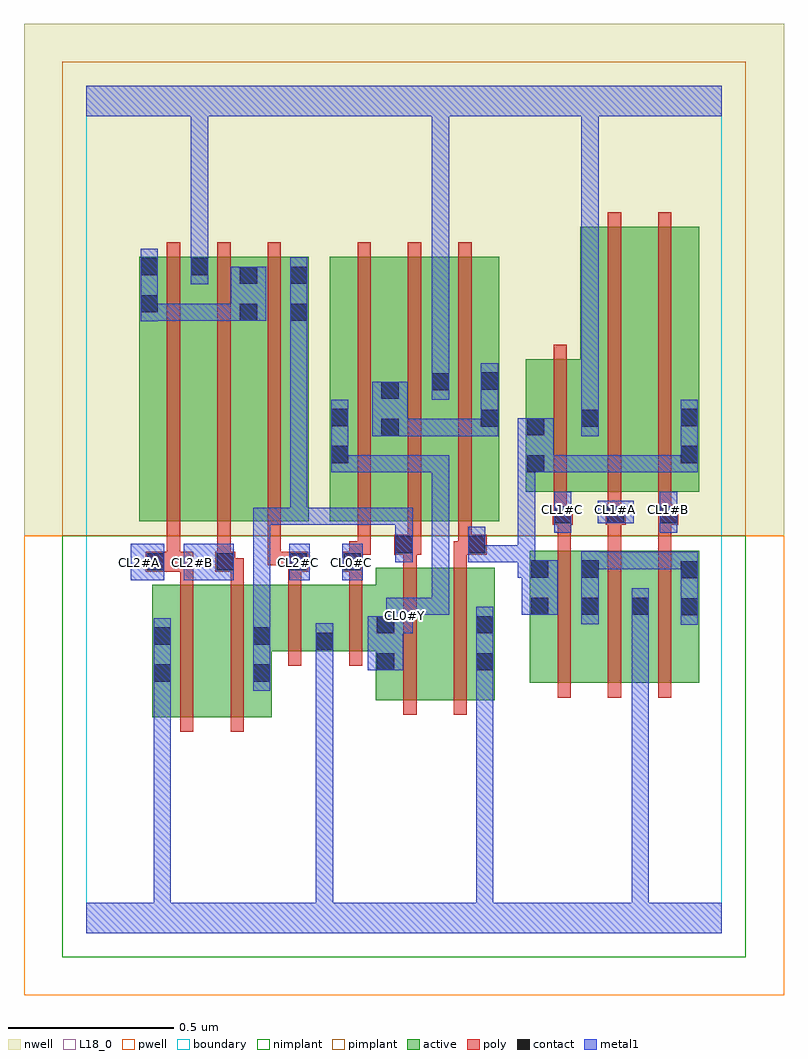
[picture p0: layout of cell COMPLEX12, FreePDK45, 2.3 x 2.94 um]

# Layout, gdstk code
import gdstk
lib = gdstk.Library(unit=1e-6, precision=1e-09)
def R(c, l, rs):  # rectangles x0, y0, x1, y1
    for r in rs: c.add(gdstk.rectangle(r[:2], r[2:], *l))
def A(c, l, x, y, w, h, nx, ny, dx, dy):  # array of equal rectangles
    R(c, l, [(x+i*dx, y+j*dy, x+i*dx+w, y+j*dy+h) for i in range(nx) for j in range(ny)])
active = (1, 0)
pwell = (2, 0)
nwell = (3, 0)
nimplant = (4, 0)
pimplant = (5, 0)
poly = (9, 0)
contact = (10, 0)
metal1 = (11, 0)
L18_0 = (18, 0)
boundary = (235, 0)

complex12 = lib.new_cell('COMPLEX12')
A(complex12, active, 1.34, 0.756, 0.06, 0.4, 3, 1, 0.152, 0)
R(complex12, active, [(0.2,0.652,0.38,1.052), (0.38,0.652,0.56,1.052), (0.874,0.704,1.054,1.104), (1.054,0.704,1.234,1.104), (0.2,0.756,0.26,1.052), (0.5,0.756,0.56,1.028), (1.174,0.756,1.234,1.104), (1.34,0.756,1.552,1.156), (1.492,0.756,1.704,1.156), (1.644,0.756,1.852,1.156), (1.792,0.756,1.852,1.156), (0.874,0.79,0.934,1.018), (0.5,0.852,0.75,1.052), (0.69,0.852,0.934,1.052), (0.69,0.852,0.75,1.052), (0.16,1.244,0.22,2.044), (0.16,1.244,0.372,2.044), (0.312,1.244,0.52,2.044), (0.46,1.244,0.672,2.044), (0.612,1.244,0.672,2.044), (0.736,1.244,0.796,2.044), (0.736,1.244,0.948,2.044), (0.888,1.244,1.1,2.044), (1.04,1.244,1.248,2.044), (1.188,1.244,1.248,2.044), (1.328,1.334,1.388,1.734), (1.328,1.334,1.552,1.734), (1.492,1.334,1.672,2.134), (1.672,1.334,1.852,2.134), (1.792,1.334,1.852,2.044), (0.888,1.448,0.948,2.044), (1.492,1.526,1.552,1.644), (1.04,1.586,1.1,2.044), (0.312,1.686,0.372,2.044), (0.46,1.686,0.52,2.044)])
R(complex12, pwell, [(-0.188,-0.188,2.108,1.2)])
R(complex12, nwell, [(-0.188,1.2,2.108,2.748)])
R(complex12, nimplant, [(-0.072,-0.072,1.992,1.2)])
R(complex12, pimplant, [(-0.072,1.2,1.992,2.632)])
A(complex12, poly, 1.424, 0.712, 0.04, 0.488, 3, 1, 0.152, 0)
A(complex12, poly, 0.244, 1.112, 0.04, 0.128, 3, 1, 0.152, 0)
A(complex12, poly, 1.424, 1.16, 0.04, 0.114, 3, 1, 0.152, 0)
A(complex12, poly, 0.244, 1.2, 0.04, 0.888, 3, 1, 0.152, 0)
A(complex12, poly, 0.82, 1.2, 0.04, 0.888, 3, 1, 0.152, 0)
R(complex12, poly, [(0.284,0.608,0.324,1.096), (0.436,0.608,0.476,1.096), (0.958,0.66,0.998,1.148), (1.11,0.66,1.15,1.148), (0.61,0.808,0.65,1.096), (0.794,0.808,0.834,1.096), (0.284,1.056,0.324,1.132), (0.436,1.056,0.476,1.132), (0.61,1.056,0.65,1.132), (0.794,1.056,0.834,1.132), (0.18,1.092,0.324,1.152), (0.39,1.092,0.45,1.152), (0.41,1.092,0.45,1.132), (0.41,1.092,0.476,1.132), (0.61,1.092,0.67,1.152), (0.774,1.092,0.834,1.152), (0.958,1.108,0.998,1.184), (1.11,1.108,1.15,1.184), (0.244,1.112,0.284,1.152), (0.244,1.112,0.284,1.152), (0.548,1.112,0.65,1.152), (0.61,1.112,0.65,1.152), (0.794,1.112,0.834,1.184), (0.794,1.144,0.86,1.184), (0.82,1.144,0.86,1.24), (0.93,1.144,1.012,1.204), (0.958,1.144,0.998,1.184), (0.958,1.144,0.998,1.184), (1.11,1.144,1.164,1.184), (1.124,1.144,1.164,1.184), (1.124,1.144,1.21,1.204), (0.972,1.164,1.012,1.24), (1.124,1.164,1.164,1.24), (1.41,1.234,1.47,1.294), (1.424,1.234,1.464,1.274), (1.424,1.234,1.464,1.274), (1.57,1.234,1.63,1.294), (1.576,1.234,1.616,1.274), (1.576,1.234,1.616,1.274), (1.728,1.234,1.768,1.274), (1.728,1.234,1.768,1.274), (1.728,1.234,1.788,1.294), (1.412,1.254,1.452,1.33), (1.576,1.254,1.616,1.33), (1.728,1.254,1.768,1.33), (1.412,1.29,1.452,1.778), (1.576,1.29,1.616,2.178), (1.728,1.29,1.768,2.178)])
A(complex12, contact, 1.344, 0.962, 0.052, 0.052, 3, 1, 0.152, 0)
R(complex12, contact, [(0.204,0.76,0.256,0.812), (0.504,0.76,0.556,0.812), (0.878,0.794,0.93,0.846), (1.178,0.794,1.23,0.846), (0.694,0.856,0.746,0.908), (0.204,0.872,0.256,0.924), (0.504,0.872,0.556,0.924), (0.878,0.906,0.93,0.958), (1.178,0.906,1.23,0.958), (1.796,0.96,1.848,1.012), (1.796,1.072,1.848,1.124), (1.344,1.074,1.396,1.126), (1.496,1.074,1.548,1.126), (0.184,1.096,0.236,1.148), (0.394,1.096,0.446,1.148), (0.614,1.096,0.666,1.148), (0.778,1.096,0.83,1.148), (0.934,1.148,0.986,1.2), (1.154,1.148,1.206,1.2), (1.414,1.238,1.466,1.29), (1.574,1.238,1.626,1.29), (1.732,1.238,1.784,1.29), (1.332,1.392,1.384,1.444), (0.74,1.42,0.792,1.472), (1.796,1.42,1.848,1.472), (0.892,1.502,0.944,1.554), (1.332,1.504,1.384,1.556), (1.192,1.53,1.244,1.582), (1.496,1.53,1.548,1.582), (0.74,1.532,0.792,1.584), (1.796,1.532,1.848,1.584), (0.892,1.614,0.944,1.666), (1.044,1.64,1.096,1.692), (1.192,1.642,1.244,1.694), (0.464,1.85,0.516,1.902), (0.616,1.85,0.668,1.902), (0.164,1.876,0.216,1.928), (0.464,1.962,0.516,2.014), (0.616,1.962,0.668,2.014), (0.164,1.988,0.216,2.04), (0.316,1.988,0.368,2.04)])
R(complex12, metal1, [(0,0,1.92,0.092), (0.204,0.04,0.256,0.092), (0.204,0.04,0.256,0.092), (0.204,0.04,0.256,0.092), (0.204,0.04,0.256,0.092), (0.204,0.04,0.256,0.092), (0.204,0.04,0.256,0.092), (0.204,0.04,0.256,0.784), (0.694,0.04,0.746,0.092), (0.694,0.04,0.746,0.092), (0.694,0.04,0.746,0.092), (0.694,0.04,0.746,0.092), (0.694,0.04,0.746,0.092), (0.694,0.04,0.746,0.092), (0.694,0.04,0.746,0.092), (0.694,0.04,0.746,0.092), (0.694,0.04,0.746,0.092), (0.694,0.04,0.746,0.092), (0.694,0.04,0.746,0.092), (0.694,0.04,0.746,0.092), (0.694,0.04,0.746,0.092), (0.694,0.04,0.746,0.092), (0.694,0.04,0.746,0.092), (0.694,0.04,0.746,0.092), (0.694,0.04,0.746,0.88), (1.178,0.04,1.23,0.092), (1.178,0.04,1.23,0.092), (1.178,0.04,1.23,0.092), (1.178,0.04,1.23,0.092), (1.178,0.04,1.23,0.092), (1.178,0.04,1.23,0.092), (1.178,0.04,1.23,0.092), (1.178,0.04,1.23,0.092), (1.178,0.04,1.23,0.092), (1.178,0.04,1.23,0.092), (1.178,0.04,1.23,0.092), (1.178,0.04,1.23,0.092), (1.178,0.04,1.23,0.818), (1.648,0.04,1.7,0.092), (1.648,0.04,1.7,0.092), (1.648,0.04,1.7,0.092), (1.648,0.04,1.7,0.092), (1.648,0.04,1.7,0.092), (1.648,0.04,1.7,0.092), (1.648,0.04,1.7,0.092), (1.648,0.04,1.7,0.092), (1.648,0.04,1.7,0.986), (0.204,0.732,0.256,0.784), (0.204,0.732,0.256,0.784), (0.204,0.732,0.256,0.784), (0.204,0.732,0.256,0.784), (0.204,0.732,0.256,0.784), (0.204,0.732,0.256,0.784), (0.204,0.732,0.256,0.952), (0.504,0.732,0.556,0.952), (1.178,0.766,1.23,0.986), (0.85,0.794,0.958,0.958), (0.694,0.828,0.746,0.936), (0.504,0.9,0.556,1.286), (0.906,0.906,0.958,0.958), (0.906,0.906,0.986,1.014), (1.796,0.932,1.848,1.152), (1.496,0.934,1.548,1.154), (1.648,0.934,1.7,0.986), (1.648,0.934,1.7,0.986), (1.648,0.934,1.7,0.986), (1.648,0.934,1.7,0.986), (1.648,0.934,1.7,1.042), (0.934,0.962,1.096,1.014), (1.044,0.962,1.096,1.014), (1.044,0.962,1.096,1.014), (1.044,0.962,1.096,1.014), (1.044,0.962,1.096,1.444), (1.316,0.962,1.424,1.126), (0.134,1.066,0.236,1.176), (0.294,1.066,0.446,1.176), (0.614,1.066,0.676,1.176), (0.774,1.066,0.836,1.176), (1.304,1.074,1.356,1.172), (1.304,1.074,1.368,1.126), (1.316,1.074,1.368,1.126), (1.496,1.1,1.548,1.152), (1.496,1.1,1.548,1.152), (1.496,1.1,1.738,1.152), (1.686,1.1,1.738,1.152), (1.686,1.1,1.848,1.152), (1.796,1.1,1.848,1.152), (1.796,1.1,1.848,1.152), (0.934,1.12,0.986,1.228), (1.154,1.12,1.206,1.172), (1.154,1.12,1.206,1.172), (1.154,1.12,1.206,1.228), (1.154,1.12,1.356,1.172), (1.304,1.12,1.356,1.172), (1.304,1.12,1.356,1.444), (0.934,1.176,0.986,1.228), (0.934,1.176,0.986,1.286), (1.414,1.21,1.466,1.334), (1.732,1.21,1.786,1.334), (0.504,1.234,0.556,1.286), (0.504,1.234,0.556,1.286), (0.504,1.234,0.556,1.286), (0.504,1.234,0.556,1.286), (0.504,1.234,0.556,1.286), (0.504,1.234,0.668,1.286), (0.616,1.234,0.668,1.286), (0.616,1.234,0.778,1.286), (0.616,1.234,0.668,1.874), (0.726,1.234,0.778,1.286), (0.726,1.234,0.778,1.286), (0.726,1.234,0.778,1.286), (0.726,1.234,0.986,1.286), (1.546,1.238,1.654,1.306), (0.74,1.392,0.792,1.444), (0.74,1.392,0.792,1.444), (0.74,1.392,0.792,1.612), (0.74,1.392,0.986,1.444), (0.934,1.392,0.986,1.444), (0.934,1.392,0.986,1.444), (0.934,1.392,0.986,1.444), (0.934,1.392,1.096,1.444), (1.044,1.392,1.096,1.444), (1.044,1.392,1.096,1.444), (1.044,1.392,1.096,1.444), (1.304,1.392,1.412,1.556), (1.36,1.392,1.412,1.444), (1.36,1.392,1.412,1.444), (1.36,1.392,1.59,1.444), (1.538,1.392,1.59,1.444), (1.538,1.392,1.59,1.444), (1.538,1.392,1.59,1.444), (1.538,1.392,1.738,1.444), (1.686,1.392,1.738,1.444), (1.686,1.392,1.848,1.444), (1.796,1.392,1.848,1.444), (1.796,1.392,1.848,1.444), (1.796,1.392,1.848,1.612), (0.864,1.502,0.972,1.666), (0.92,1.502,1.096,1.554), (1.044,1.502,1.096,1.554), (1.044,1.502,1.096,1.554), (1.044,1.502,1.096,1.554), (1.044,1.502,1.244,1.554), (1.192,1.502,1.244,1.554), (1.192,1.502,1.244,1.554), (1.192,1.502,1.244,1.722), (1.496,1.502,1.548,1.61), (1.496,1.558,1.548,2.52), (1.044,1.612,1.096,1.72), (1.044,1.668,1.096,1.72), (1.044,1.668,1.096,1.72), (1.044,1.668,1.096,2.52), (0.616,1.822,0.668,2.042), (0.164,1.848,0.216,2.068), (0.164,1.85,0.216,1.902), (0.164,1.85,0.216,1.902), (0.164,1.85,0.378,1.902), (0.326,1.85,0.378,1.902), (0.326,1.85,0.378,1.902), (0.326,1.85,0.378,1.902), (0.326,1.85,0.488,1.902), (0.436,1.85,0.544,2.014), (0.316,1.96,0.368,2.068), (0.316,2.016,0.368,2.068), (0.316,2.016,0.368,2.068), (0.316,2.016,0.368,2.068), (0.316,2.016,0.368,2.068), (0.316,2.016,0.368,2.068), (0.316,2.016,0.368,2.068), (0.316,2.016,0.368,2.068), (0.316,2.016,0.368,2.068), (0.316,2.016,0.368,2.52), (0,2.468,1.92,2.56), (1.044,2.468,1.096,2.52), (1.044,2.468,1.096,2.52), (1.044,2.468,1.096,2.52), (1.044,2.468,1.096,2.52), (1.044,2.468,1.096,2.52), (1.044,2.468,1.096,2.52), (1.496,2.468,1.548,2.52), (1.496,2.468,1.548,2.52), (1.496,2.468,1.548,2.52), (1.496,2.468,1.548,2.52), (1.496,2.468,1.548,2.52), (1.496,2.468,1.548,2.52), (1.496,2.468,1.548,2.52), (1.496,2.468,1.548,2.52)])
A(complex12, L18_0, 1.414, 1.254, 0.052, 0.052, 3, 1, 0.16, 0)
R(complex12, L18_0, [(0,0,1.92,0.092), (0.204,0.04,0.256,0.092), (0.204,0.04,0.256,0.092), (0.204,0.04,0.256,0.092), (0.204,0.04,0.256,0.092), (0.204,0.04,0.256,0.092), (0.204,0.04,0.256,0.092), (0.204,0.04,0.256,0.784), (0.694,0.04,0.746,0.092), (0.694,0.04,0.746,0.092), (0.694,0.04,0.746,0.092), (0.694,0.04,0.746,0.092), (0.694,0.04,0.746,0.092), (0.694,0.04,0.746,0.092), (0.694,0.04,0.746,0.092), (0.694,0.04,0.746,0.092), (0.694,0.04,0.746,0.092), (0.694,0.04,0.746,0.092), (0.694,0.04,0.746,0.092), (0.694,0.04,0.746,0.092), (0.694,0.04,0.746,0.092), (0.694,0.04,0.746,0.092), (0.694,0.04,0.746,0.092), (0.694,0.04,0.746,0.092), (0.694,0.04,0.746,0.88), (1.178,0.04,1.23,0.092), (1.178,0.04,1.23,0.092), (1.178,0.04,1.23,0.092), (1.178,0.04,1.23,0.092), (1.178,0.04,1.23,0.092), (1.178,0.04,1.23,0.092), (1.178,0.04,1.23,0.092), (1.178,0.04,1.23,0.092), (1.178,0.04,1.23,0.092), (1.178,0.04,1.23,0.092), (1.178,0.04,1.23,0.092), (1.178,0.04,1.23,0.092), (1.178,0.04,1.23,0.818), (1.648,0.04,1.7,0.092), (1.648,0.04,1.7,0.092), (1.648,0.04,1.7,0.092), (1.648,0.04,1.7,0.092), (1.648,0.04,1.7,0.092), (1.648,0.04,1.7,0.092), (1.648,0.04,1.7,0.092), (1.648,0.04,1.7,0.092), (1.648,0.04,1.7,0.986), (0.204,0.732,0.256,0.784), (0.204,0.732,0.256,0.784), (0.204,0.732,0.256,0.784), (0.204,0.732,0.256,0.784), (0.204,0.732,0.256,0.784), (0.204,0.732,0.256,0.784), (0.204,0.732,0.256,0.952), (1.178,0.766,1.23,0.986), (0.85,0.794,0.958,0.958), (0.694,0.828,0.746,0.936), (0.906,0.906,0.958,0.958), (0.906,0.906,0.986,1.014), (0.934,0.934,0.986,0.986), (1.648,0.934,1.7,0.986), (1.648,0.934,1.7,0.986), (1.648,0.934,1.7,0.986), (1.648,0.934,1.7,0.986), (1.648,0.934,1.7,1.042), (0.934,0.962,1.096,1.014), (1.044,0.962,1.096,1.014), (1.044,0.962,1.096,1.014), (1.044,0.962,1.096,1.014), (1.044,0.962,1.096,1.444), (0.134,1.066,0.236,1.176), (0.294,1.066,0.446,1.176), (0.614,1.066,0.676,1.176), (0.774,1.066,0.836,1.176), (0.134,1.094,0.186,1.146), (0.294,1.094,0.346,1.146), (0.614,1.094,0.666,1.146), (0.774,1.094,0.826,1.146), (1.414,1.21,1.466,1.334), (1.732,1.21,1.786,1.334), (1.546,1.238,1.654,1.306), (0.74,1.392,0.792,1.444), (0.74,1.392,0.792,1.444), (0.74,1.392,0.792,1.612), (0.74,1.392,0.986,1.444), (0.934,1.392,0.986,1.444), (0.934,1.392,0.986,1.444), (0.934,1.392,0.986,1.444), (0.934,1.392,1.096,1.444), (1.044,1.392,1.096,1.444), (1.044,1.392,1.096,1.444), (1.044,1.392,1.096,1.444), (1.496,1.502,1.548,1.61), (1.496,1.558,1.548,2.52), (1.044,1.612,1.096,1.72), (1.044,1.668,1.096,1.72), (1.044,1.668,1.096,1.72), (1.044,1.668,1.096,2.52), (0.316,1.96,0.368,2.068), (0.316,2.016,0.368,2.068), (0.316,2.016,0.368,2.068), (0.316,2.016,0.368,2.068), (0.316,2.016,0.368,2.068), (0.316,2.016,0.368,2.068), (0.316,2.016,0.368,2.068), (0.316,2.016,0.368,2.068), (0.316,2.016,0.368,2.068), (0.316,2.016,0.368,2.52), (0,2.468,1.92,2.56), (1.044,2.468,1.096,2.52), (1.044,2.468,1.096,2.52), (1.044,2.468,1.096,2.52), (1.044,2.468,1.096,2.52), (1.044,2.468,1.096,2.52), (1.044,2.468,1.096,2.52), (1.496,2.468,1.548,2.52), (1.496,2.468,1.548,2.52), (1.496,2.468,1.548,2.52), (1.496,2.468,1.548,2.52), (1.496,2.468,1.548,2.52), (1.496,2.468,1.548,2.52), (1.496,2.468,1.548,2.52), (1.496,2.468,1.548,2.52)])
R(complex12, boundary, [(0,0,1.92,2.56)])
complex12.add(gdstk.Label('CL0#C', (0.8,1.12), layer=11, texttype=0))
complex12.add(gdstk.Label('CL0#Y', (0.96,0.96), layer=11, texttype=0))
complex12.add(gdstk.Label('CL1#A', (1.6,1.28), layer=11, texttype=0))
complex12.add(gdstk.Label('CL1#B', (1.76,1.28), layer=11, texttype=0))
complex12.add(gdstk.Label('CL1#C', (1.44,1.28), layer=11, texttype=0))
complex12.add(gdstk.Label('CL2#A', (0.16,1.12), layer=11, texttype=0))
complex12.add(gdstk.Label('CL2#B', (0.32,1.12), layer=11, texttype=0))
complex12.add(gdstk.Label('CL2#C', (0.64,1.12), layer=11, texttype=0))

lib.write_gds('COMPLEX12.gds')
